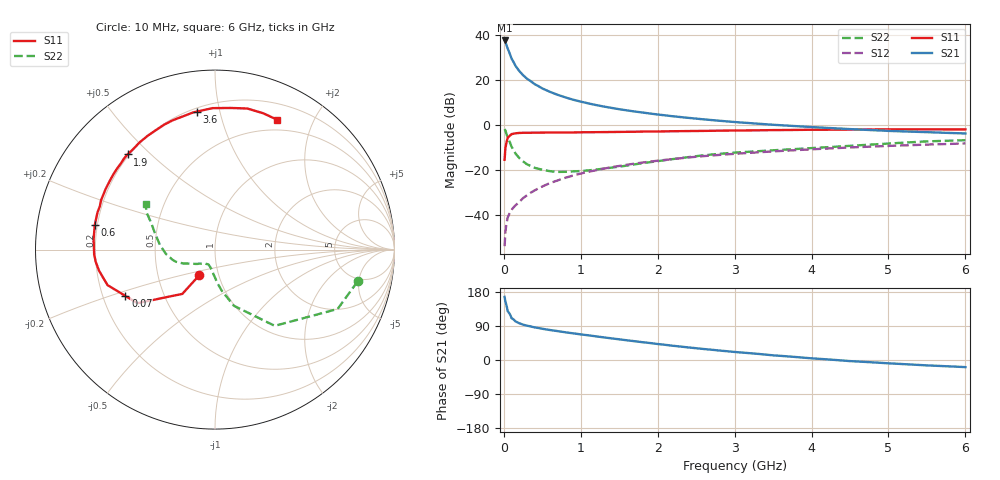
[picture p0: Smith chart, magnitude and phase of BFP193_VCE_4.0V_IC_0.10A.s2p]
! Infineon Technologies  Discrete & RF Semiconductors
! BFP193
! VCE =  4.0 V,  IC = 0.10 A
! Common Emitter S-Parameters:  Jan 2017
# GHz  S  MA  R  50
!  f  S11  S21  S12  S22
! GHz  MAG  ANG  MAG  ANG  MAG  ANG  MAG  ANG
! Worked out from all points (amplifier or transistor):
!   77 points, 10 MHz to 6 GHz, reference 50 ohm
!   highest |S21| = 37.7 dB at 10 MHz (marker M1)
!   |S21| within 3 dB of that: start of sweep to 43.36 MHz
!   unconditionally stable (mu >= 1): start of sweep to 10.14 MHz; 264.9 MHz to 2.684 GHz
!   at 130 MHz: K = 0.81, MSG = 32.2 dB, |S12| = -36.5 dB
!   at 2.2 GHz: K = 1.03, MAG = 8.5 dB, |S12| = -15.1 dB
!   at 6 GHz: K = 0.96, MSG = 2.2 dB, |S12| = -8.2 dB
!   S11 on the Smith chart (normalised r, x): 10 MHz: 0.81, -0.24; 70 MHz: 0.30, -0.22; 600 MHz: 0.19, +0.10; 1.9 GHz: 0.19, +0.43; 3.6 GHz: 0.22, +0.85; 6 GHz: 0.37, +1.52
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0.01  0.1685 -121.6  77.11 166.5  0.002 80.9  0.8141 -12.6
0.02  0.3068 -126.4  72.67 154.2  0.0041 70.1  0.7592 -25.8
0.05  0.5254 -145.4  50.72 128.8  0.0087 59.3  0.5397 -51.9
0.07  0.5618 -152.6  42.16 123.6  0.0104 60.1  0.4505 -57.5
0.1  0.6305 -161.7  30.43 110.5  0.0129 61.0  0.3303 -71.4
0.15  0.6564 -169.6  21.13 102.1  0.0162 63.3  0.2344 -80.4
0.2  0.668 -174.1  16.09 97.0  0.0192 67.4  0.1849 -86.3
0.25  0.6739 -177.7  12.97 93.2  0.0236 68.3  0.1553 -90.1
0.3  0.6743 179.7  10.85 90.6  0.0272 69.8  0.1342 -94.2
0.4  0.6785 175.3  8.205 86.0  0.035 71.6  0.1117 -99.8
0.5  0.6803 171.5  6.574 82.4  0.0428 72.7  0.101 -105.3
0.6  0.6838 168.2  5.508 79.1  0.0511 71.5  0.0939 -110.4
0.8  0.6866 162.3  4.149 73.1  0.067 71.9  0.0909 -116.9
1.1  0.6933 153.8  3.046 65.1  0.0913 68.8  0.0979 -127.2
1.5  0.705 143.1  2.26 54.6  0.1228 64.1  0.1185 -138.8
1.9  0.7202 132.6  1.813 44.8  0.1533 59.1  0.1488 -147.9
2.1  0.7252 127.4  1.647 40.0  0.1678 56.3  0.166 -151.8
3.1  0.7596 106.3  1.138 19.6  0.2349 43.1  0.2495 -168.5
3.6  0.7756 97.4  0.994 10.9  0.265 37.2  0.2804 -177.1
4.1  0.7884 89.5  0.886 3.1  0.2942 31.1  0.314 173.1
5.1  0.8054 75.8  0.733 -9.8  0.3482 19.0  0.3971 155.7
6  0.8023 64.6  0.651 -18.8  0.39 8.6  0.4611 146.8
